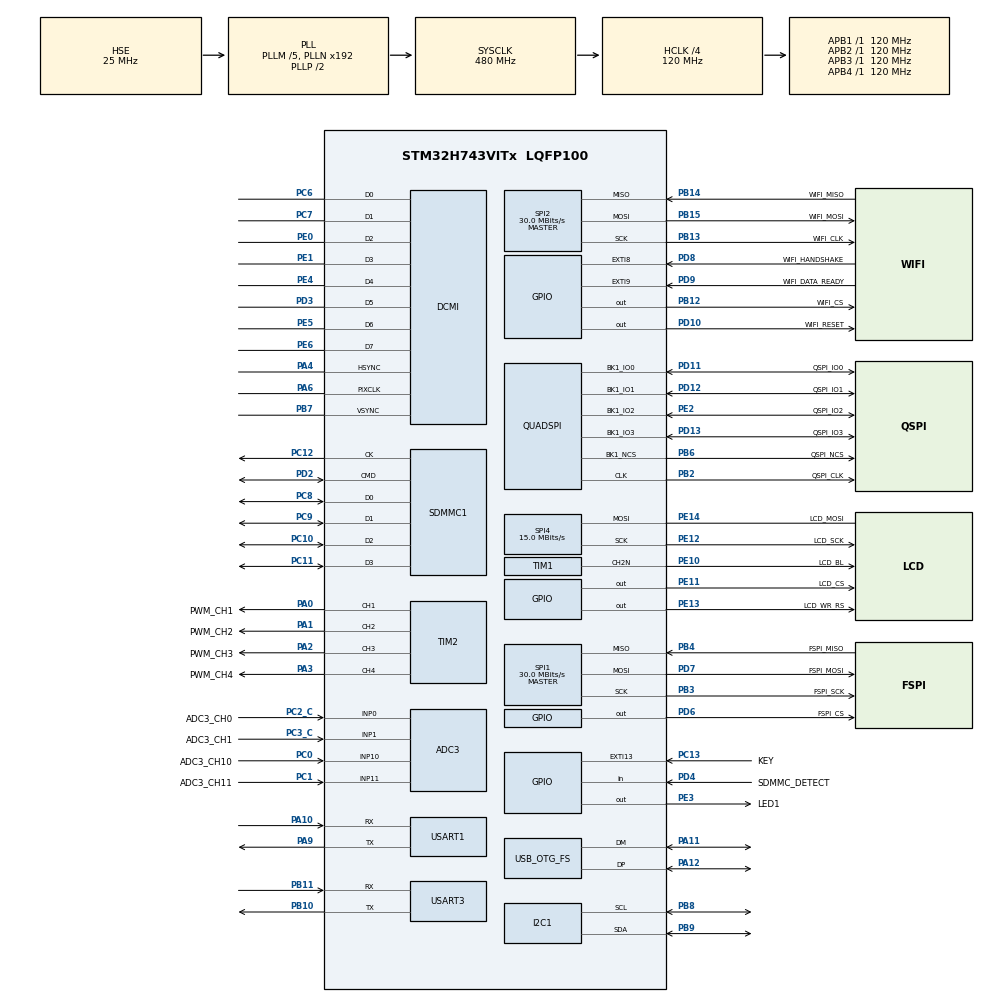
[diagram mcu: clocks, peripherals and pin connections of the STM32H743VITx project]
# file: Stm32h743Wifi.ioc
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ADC3.Channel-0\#ChannelRegularConversion=ADC_CHANNEL_0
ADC3.Channel-1\#ChannelRegularConversion=ADC_CHANNEL_VREFINT
ADC3.Channel-2\#ChannelRegularConversion=ADC_CHANNEL_TEMPSENSOR
ADC3.Channel-3\#ChannelRegularConversion=ADC_CHANNEL_VBAT
ADC3.DiscontinuousConvMode=ENABLE
ADC3.NbrOfConversion=4
ADC3.NbrOfConversionFlag=1
ADC3.OffsetNumber-0\#ChannelRegularConversion=ADC_OFFSET_NONE
ADC3.OffsetNumber-1\#ChannelRegularConversion=ADC_OFFSET_NONE
ADC3.OffsetNumber-2\#ChannelRegularConversion=ADC_OFFSET_NONE
ADC3.OffsetNumber-3\#ChannelRegularConversion=ADC_OFFSET_NONE
ADC3.OffsetSignedSaturation-0\#ChannelRegularConversion=DISABLE
ADC3.OffsetSignedSaturation-1\#ChannelRegularConversion=DISABLE
ADC3.OffsetSignedSaturation-2\#ChannelRegularConversion=DISABLE
ADC3.OffsetSignedSaturation-3\#ChannelRegularConversion=DISABLE
ADC3.Rank-0\#ChannelRegularConversion=1
ADC3.Rank-1\#ChannelRegularConversion=2
ADC3.Rank-2\#ChannelRegularConversion=3
ADC3.Rank-3\#ChannelRegularConversion=4
ADC3.SamplingTime-0\#ChannelRegularConversion=ADC_SAMPLETIME_387CYCLES_5
ADC3.SamplingTime-1\#ChannelRegularConversion=ADC_SAMPLETIME_387CYCLES_5
ADC3.SamplingTime-2\#ChannelRegularConversion=ADC_SAMPLETIME_387CYCLES_5
ADC3.SamplingTime-3\#ChannelRegularConversion=ADC_SAMPLETIME_387CYCLES_5
CORTEX_M7.CPU_DCache=Enabled
CORTEX_M7.CPU_ICache=Enabled
DCMI.PCKPolarity=DCMI_PCKPOLARITY_RISING
Dma.DCMI.0.Direction=DMA_PERIPH_TO_MEMORY
Dma.DCMI.0.EventEnable=DISABLE
Dma.DCMI.0.FIFOMode=DMA_FIFOMODE_DISABLE
Dma.DCMI.0.Instance=DMA1_Stream0
Dma.DCMI.0.MemDataAlignment=DMA_MDATAALIGN_WORD
Dma.DCMI.0.MemInc=DMA_MINC_ENABLE
Dma.DCMI.0.Mode=DMA_NORMAL
Dma.DCMI.0.PeriphDataAlignment=DMA_PDATAALIGN_WORD
Dma.DCMI.0.PeriphInc=DMA_PINC_DISABLE
Dma.DCMI.0.Polarity=HAL_DMAMUX_REQ_GEN_RISING
Dma.DCMI.0.Priority=DMA_PRIORITY_LOW
Dma.DCMI.0.RequestNumber=1
Dma.DCMI.0.SignalID=NONE
Dma.DCMI.0.SyncEnable=DISABLE
Dma.DCMI.0.SyncPolarity=HAL_DMAMUX_SYNC_NO_EVENT
Dma.DCMI.0.SyncRequestNumber=1
Dma.DCMI.0.SyncSignalID=NONE
Dma.Request0=DCMI
Dma.Request1=SPI1_RX
Dma.Request2=SPI1_TX
Dma.SPI1_RX.1.Direction=DMA_PERIPH_TO_MEMORY
Dma.SPI1_RX.1.EventEnable=DISABLE
Dma.SPI1_RX.1.FIFOMode=DMA_FIFOMODE_DISABLE
Dma.SPI1_RX.1.Instance=DMA1_Stream1
Dma.SPI1_RX.1.MemDataAlignment=DMA_MDATAALIGN_BYTE
Dma.SPI1_RX.1.MemInc=DMA_MINC_ENABLE
Dma.SPI1_RX.1.Mode=DMA_NORMAL
Dma.SPI1_RX.1.PeriphDataAlignment=DMA_PDATAALIGN_BYTE
Dma.SPI1_RX.1.PeriphInc=DMA_PINC_DISABLE
Dma.SPI1_RX.1.Polarity=HAL_DMAMUX_REQ_GEN_RISING
Dma.SPI1_RX.1.Priority=DMA_PRIORITY_LOW
Dma.SPI1_RX.1.RequestNumber=1
Dma.SPI1_RX.1.SignalID=NONE
Dma.SPI1_RX.1.SyncEnable=DISABLE
Dma.SPI1_RX.1.SyncPolarity=HAL_DMAMUX_SYNC_NO_EVENT
Dma.SPI1_RX.1.SyncRequestNumber=1
Dma.SPI1_RX.1.SyncSignalID=NONE
Dma.SPI1_TX.2.Direction=DMA_MEMORY_TO_PERIPH
Dma.SPI1_TX.2.EventEnable=DISABLE
Dma.SPI1_TX.2.FIFOMode=DMA_FIFOMODE_DISABLE
Dma.SPI1_TX.2.Instance=DMA1_Stream2
Dma.SPI1_TX.2.MemDataAlignment=DMA_MDATAALIGN_BYTE
Dma.SPI1_TX.2.MemInc=DMA_MINC_ENABLE
Dma.SPI1_TX.2.Mode=DMA_NORMAL
Dma.SPI1_TX.2.PeriphDataAlignment=DMA_PDATAALIGN_BYTE
Dma.SPI1_TX.2.PeriphInc=DMA_PINC_DISABLE
Dma.SPI1_TX.2.Polarity=HAL_DMAMUX_REQ_GEN_RISING
Dma.SPI1_TX.2.Priority=DMA_PRIORITY_LOW
Dma.SPI1_TX.2.RequestNumber=1
Dma.SPI1_TX.2.SignalID=NONE
Dma.SPI1_TX.2.SyncEnable=DISABLE
Dma.SPI1_TX.2.SyncPolarity=HAL_DMAMUX_SYNC_NO_EVENT
Dma.SPI1_TX.2.SyncRequestNumber=1
Dma.SPI1_TX.2.SyncSignalID=NONE
FATFS.BSP.number=1
FATFS.USE_DMA_CODE_SD=1
FATFS0.BSP.STBoard=false
FATFS0.BSP.api=Unknown
FATFS0.BSP.instance=PD4
FATFS0.BSP.ip=GPIO
FATFS0.BSP.mode=Input
FATFS0.BSP.name=Detect_SDIO
FATFS0.BSP.solution=PD4
FREERTOS.Mutexes01=SDMutex,Dynamic,NULL,Available
FREERTOS.Queues01=displayQueue,10,59,1,Dynamic,NULL,NULL;ledQueue,6,uint16_t,0,Dynamic,NULL,NULL;usbQueue,16,uint16_t,0,Dynamic,NULL,NULL;adcQueue,10,32,1,Dynamic,NULL,NULL
FREERTOS.Tasks01=DEFAULTTASK,0,1024,startDefaultTask,Default,NULL,Dynamic,NULL,NULL;USBTASK,0,16384,startUsbTask,Default,NULL,Dynamic,NULL,NULL;LEDTASK,-2,256,startLedTask,Default,NULL,Dynamic,NULL,NULL;DISPLAYTASK,-2,8192,startDisplayTask,Default,NULL,Dynamic,NULL,NULL;CDCTASK,-3,8192,startCdcTask,Default,NULL,Dynamic,NULL,NULL
FREERTOS.configENABLE_FPU=1
FREERTOS.configTOTAL_HEAP_SIZE=196608
FREERTOS.configUSE_NEWLIB_REENTRANT=1
I2C1.I2C_Fall_Time=10
I2C1.I2C_Rise_Time=100
I2C1.Timing=0x40805E8A
Mcu.Family=STM32H7
Mcu.Name=STM32H743VITx
Mcu.Package=LQFP100
NVIC.DCMI_IRQn=true\:5\:0\:false\:false\:true\:true\:true\:true\:true
NVIC.DMA1_Stream0_IRQn=true\:5\:0\:false\:false\:true\:true\:false\:true\:true
NVIC.DMA1_Stream1_IRQn=true\:5\:0\:false\:false\:true\:true\:false\:true\:true
NVIC.DMA1_Stream2_IRQn=true\:5\:0\:false\:false\:true\:true\:false\:true\:true
NVIC.OTG_FS_IRQn=true\:6\:0\:true\:false\:true\:true\:true\:true\:true
NVIC.PriorityGroup=NVIC_PRIORITYGROUP_4
NVIC.SDMMC1_IRQn=true\:5\:0\:false\:false\:true\:true\:true\:true\:true
NVIC.SPI1_IRQn=true\:5\:0\:false\:false\:true\:true\:false\:true\:true
NVIC.TIM16_IRQn=true\:5\:0\:false\:false\:true\:true\:true\:true\:true
NVIC.TIM6_DAC_IRQn=true\:15\:0\:false\:false\:true\:false\:false\:true\:true
NVIC.TimeBase=TIM6_DAC_IRQn
NVIC.TimeBaseIP=TIM6
PA0.GPIO_Label=PWM_CH1
PA0.Signal=S_TIM2_CH1_ETR
PA1.GPIO_Label=PWM_CH2
PA1.Signal=S_TIM2_CH2
PA10.Mode=Asynchronous
PA10.Signal=USART1_RX
PA11.Mode=Device_Only
PA11.Signal=USB_OTG_FS_DM
PA12.Mode=Device_Only
PA12.Signal=USB_OTG_FS_DP
PA13\ (JTMS/SWDIO).Mode=Serial_Wire
PA13\ (JTMS/SWDIO).Signal=DEBUG_JTMS-SWDIO
PA14\ (JTCK/SWCLK).Mode=Serial_Wire
PA14\ (JTCK/SWCLK).Signal=DEBUG_JTCK-SWCLK
PA2.GPIO_Label=PWM_CH3
PA2.Signal=S_TIM2_CH3
PA3.GPIO_Label=PWM_CH4
PA3.Signal=S_TIM2_CH4
PA4.Mode=Slave_8_bits_External_Synchro
PA4.Signal=DCMI_HSYNC
PA6.Mode=Slave_8_bits_External_Synchro
PA6.Signal=DCMI_PIXCLK
PA9.Mode=Asynchronous
PA9.Signal=USART1_TX
PB10.Mode=Asynchronous
PB10.Signal=USART3_TX
PB11.Mode=Asynchronous
PB11.Signal=USART3_RX
PB12.GPIO_Label=WIFI_CS
PB12.Signal=GPIO_Output
PB13.GPIO_Label=WIFI_CLK
PB13.Mode=Full_Duplex_Master
PB13.Signal=SPI2_SCK
PB14.GPIO_Label=WIFI_MISO
PB14.Mode=Full_Duplex_Master
PB14.Signal=SPI2_MISO
PB15.GPIO_Label=WIFI_MOSI
PB15.Mode=Full_Duplex_Master
PB15.Signal=SPI2_MOSI
PB2.GPIO_Label=QSPI_CLK
PB2.GPIO_Speed=GPIO_SPEED_FREQ_VERY_HIGH
PB2.Mode=Single Bank 1
PB2.Signal=QUADSPI_CLK
PB3\ (JTDO/TRACESWO).GPIO_Label=FSPI_SCK
PB3\ (JTDO/TRACESWO).GPIO_Speed=GPIO_SPEED_FREQ_MEDIUM
PB3\ (JTDO/TRACESWO).Mode=Full_Duplex_Master
PB3\ (JTDO/TRACESWO).Signal=SPI1_SCK
PB4\ (NJTRST).GPIO_Label=FSPI_MISO
PB4\ (NJTRST).GPIO_Speed=GPIO_SPEED_FREQ_MEDIUM
PB4\ (NJTRST).Mode=Full_Duplex_Master
PB4\ (NJTRST).Signal=SPI1_MISO
PB6.GPIO_FM6=SYSCFG_PMCR_I2C_PB6_FMP
PB6.GPIO_Label=QSPI_NCS
PB6.GPIO_Speed=GPIO_SPEED_FREQ_VERY_HIGH
PB6.Mode=Single Bank 1
PB6.Signal=QUADSPI_BK1_NCS
PB7.Mode=Slave_8_bits_External_Synchro
PB7.Signal=DCMI_VSYNC
PB8.Mode=I2C
PB8.Signal=I2C1_SCL
PB9.Mode=I2C
PB9.Signal=I2C1_SDA
PC0.GPIO_Label=ADC3_CH10
PC0.Signal=ADCx_INP10
PC1.GPIO_Label=ADC3_CH11
PC1.Signal=ADCx_INP11
PC10.Mode=SD_4_bits_Wide_bus
PC10.Signal=SDMMC1_D2
PC11.Mode=SD_4_bits_Wide_bus
PC11.Signal=SDMMC1_D3
PC12.Mode=SD_4_bits_Wide_bus
PC12.Signal=SDMMC1_CK
PC13.GPIO_Label=KEY
PC13.GPIO_PuPd=GPIO_PULLDOWN
PC13.Signal=GPXTI13
PC14-OSC32_IN\ (OSC32_IN).Mode=LSE-External-Oscillator
PC14-OSC32_IN\ (OSC32_IN).Signal=RCC_OSC32_IN
PC15-OSC32_OUT\ (OSC32_OUT).Mode=LSE-External-Oscillator
PC15-OSC32_OUT\ (OSC32_OUT).Signal=RCC_OSC32_OUT
PC2_C.GPIO_Label=ADC3_CH0
PC2_C.Mode=IN0-Single-Ended
PC2_C.Signal=ADC3_INP0
PC3_C.GPIO_Label=ADC3_CH1
PC3_C.Mode=IN1-Single-Ended
PC3_C.Signal=ADC3_INP1
PC6.Mode=Slave_8_bits_External_Synchro
PC6.Signal=DCMI_D0
PC7.Mode=Slave_8_bits_External_Synchro
PC7.Signal=DCMI_D1
PC8.Mode=SD_4_bits_Wide_bus
PC8.Signal=SDMMC1_D0
PC9.Mode=SD_4_bits_Wide_bus
PC9.Signal=SDMMC1_D1
PD10.GPIO_Label=WIFI_RESET
PD10.Signal=GPIO_Output
PD11.GPIO_Label=QSPI_IO0
PD11.GPIO_Speed=GPIO_SPEED_FREQ_VERY_HIGH
PD11.Mode=Single Bank 1
PD11.Signal=QUADSPI_BK1_IO0
PD12.GPIO_Label=QSPI_IO1
PD12.GPIO_Speed=GPIO_SPEED_FREQ_VERY_HIGH
PD12.Mode=Single Bank 1
PD12.Signal=QUADSPI_BK1_IO1
PD13.GPIO_Label=QSPI_IO3
PD13.GPIO_Speed=GPIO_SPEED_FREQ_VERY_HIGH
PD13.Mode=Single Bank 1
PD13.Signal=QUADSPI_BK1_IO3
PD2.Mode=SD_4_bits_Wide_bus
PD2.Signal=SDMMC1_CMD
PD3.Mode=Slave_8_bits_External_Synchro
PD3.Signal=DCMI_D5
PD4.GPIO_Label=SDMMC_DETECT
PD4.Signal=GPIO_Input
PD6.GPIO_Label=FSPI_CS
PD6.GPIO_Speed=GPIO_SPEED_FREQ_VERY_HIGH
PD6.PinState=GPIO_PIN_SET
PD6.Signal=GPIO_Output
PD7.GPIO_Label=FSPI_MOSI
PD7.GPIO_Speed=GPIO_SPEED_FREQ_MEDIUM
PD7.Mode=Full_Duplex_Master
PD7.Signal=SPI1_MOSI
PD8.GPIO_Label=WIFI_HANDSHAKE
PD8.Signal=GPXTI8
PD9.GPIO_Label=WIFI_DATA_READY
PD9.Signal=GPXTI9
PE0.Mode=Slave_8_bits_External_Synchro
PE0.Signal=DCMI_D2
PE1.Mode=Slave_8_bits_External_Synchro
PE1.Signal=DCMI_D3
PE10.GPIO_Label=LCD_BL
PE10.Mode=PWM Generation2 CH2N
PE10.Signal=TIM1_CH2N
PE11.GPIO_Label=LCD_CS
PE11.GPIO_Speed=GPIO_SPEED_FREQ_VERY_HIGH
PE11.PinState=GPIO_PIN_SET
PE11.Signal=GPIO_Output
PE12.GPIO_Label=LCD_SCK
PE12.GPIO_Speed=GPIO_SPEED_FREQ_MEDIUM
PE12.Mode=Simplex_Bidirectional_Master
PE12.Signal=SPI4_SCK
PE13.GPIO_Label=LCD_WR_RS
PE13.GPIO_Speed=GPIO_SPEED_FREQ_VERY_HIGH
PE13.PinState=GPIO_PIN_SET
PE13.Signal=GPIO_Output
PE14.GPIO_Label=LCD_MOSI
PE14.GPIO_Speed=GPIO_SPEED_FREQ_MEDIUM
PE14.Mode=Simplex_Bidirectional_Master
PE14.Signal=SPI4_MOSI
PE2.GPIO_Label=QSPI_IO2
PE2.GPIO_Speed=GPIO_SPEED_FREQ_VERY_HIGH
PE2.Mode=Single Bank 1
PE2.Signal=QUADSPI_BK1_IO2
PE3.GPIO_Label=LED1
PE3.PinState=GPIO_PIN_RESET
PE3.Signal=GPIO_Output
PE4.Mode=Slave_8_bits_External_Synchro
PE4.Signal=DCMI_D4
PE5.Mode=Slave_8_bits_External_Synchro
PE5.Signal=DCMI_D6
PE6.Mode=Slave_8_bits_External_Synchro
PE6.Signal=DCMI_D7
PH0-OSC_IN\ (PH0).Mode=HSE-External-Oscillator
PH0-OSC_IN\ (PH0).Signal=RCC_OSC_IN
PH1-OSC_OUT\ (PH1).Mode=HSE-External-Oscillator
PH1-OSC_OUT\ (PH1).Signal=RCC_OSC_OUT
ProjectManager.HeapSize=0x2000
ProjectManager.StackSize=0x1000
ProjectManager.TargetToolchain=STM32CubeIDE
QUADSPI.ChipSelectHighTime=QSPI_CS_HIGH_TIME_3_CYCLE
QUADSPI.ClockMode=QSPI_CLOCK_MODE_3
QUADSPI.ClockPrescaler=2-1
QUADSPI.FlashSize=23-1
QUADSPI.SampleShifting=QSPI_SAMPLE_SHIFTING_HALFCYCLE
RCC.ADCFreq_Value=75000000
RCC.APB1Freq_Value=120000000
RCC.APB2Freq_Value=120000000
RCC.APB3Freq_Value=120000000
RCC.APB4Freq_Value=120000000
RCC.CortexFreq_Value=480000000
RCC.DIVM1=5
RCC.DIVM2=2
RCC.DIVM3=10
RCC.DIVN1=192
RCC.DIVN2=12
RCC.DIVN3=96
RCC.DIVQ1=8
RCC.DIVQ3=5
RCC.DIVR2=1
RCC.DIVR3=3
RCC.HCLKFreq_Value=120000000
RCC.HPRE=RCC_HCLK_DIV4
RCC.PLL2FRACN=0
RCC.PLL3FRACN=0
RCC.PLLFRACN=0
RCC.PLLSourceVirtual=RCC_PLLSOURCE_HSE
RCC.SDMMC1CLockSelection=RCC_SDMMCCLKSOURCE_PLL2
RCC.SYSCLKFreq_VALUE=480000000
RCC.SYSCLKSource=RCC_SYSCLKSOURCE_PLLCLK
RCC.SupplySource=PWR_LDO_SUPPLY
RCC.USBCLockSelection=RCC_USBCLKSOURCE_PLL3
RCC.USBFreq_Value=48000000
SDMMC1.ClockDiv=5
SH.ADCx_INP10.0=ADC3_INP10,IN10-Single-Ended
SH.ADCx_INP11.0=ADC3_INP11,IN11-Single-Ended
SH.S_TIM2_CH1_ETR.0=TIM2_CH1,PWM Generation1 CH1
SH.S_TIM2_CH2.0=TIM2_CH2,PWM Generation2 CH2
SH.S_TIM2_CH3.0=TIM2_CH3,PWM Generation3 CH3
SH.S_TIM2_CH4.0=TIM2_CH4,PWM Generation4 CH4
SPI1.BaudRatePrescaler=SPI_BAUDRATEPRESCALER_4
SPI1.CLKPolarity=SPI_POLARITY_HIGH
SPI1.CalculateBaudRate=30.0 MBits/s
SPI1.DataSize=SPI_DATASIZE_8BIT
SPI1.Direction=SPI_DIRECTION_2LINES
SPI1.Mode=SPI_MODE_MASTER
SPI1.VirtualType=VM_MASTER
SPI2.BaudRatePrescaler=SPI_BAUDRATEPRESCALER_4
SPI2.CLKPhase=SPI_PHASE_1EDGE
SPI2.CLKPolarity=SPI_POLARITY_HIGH
SPI2.CalculateBaudRate=30.0 MBits/s
SPI2.DataSize=SPI_DATASIZE_8BIT
SPI2.Direction=SPI_DIRECTION_2LINES
SPI2.Mode=SPI_MODE_MASTER
SPI2.VirtualType=VM_MASTER
SPI4.BaudRatePrescaler=SPI_BAUDRATEPRESCALER_8
SPI4.CLKPolarity=SPI_POLARITY_LOW
SPI4.CalculateBaudRate=15.0 MBits/s
SPI4.DataSize=SPI_DATASIZE_8BIT
SPI4.Direction=SPI_DIRECTION_1LINE
SPI4.Mode=SPI_MODE_MASTER
SPI4.VirtualType=VM_MASTER
TIM1.Channel-PWM\ Generation2\ CH2N=TIM_CHANNEL_2
TIM1.OCNPolarity_2=TIM_OCNPOLARITY_LOW
TIM1.Period=100-1
TIM1.Prescaler=120-1
TIM16.Period=100-1
TIM16.Prescaler=120-1
TIM2.Channel-PWM\ Generation1\ CH1=TIM_CHANNEL_1
TIM2.Channel-PWM\ Generation2\ CH2=TIM_CHANNEL_2
TIM2.Channel-PWM\ Generation3\ CH3=TIM_CHANNEL_3
TIM2.Channel-PWM\ Generation4\ CH4=TIM_CHANNEL_4
USART1.VirtualMode-Asynchronous=VM_ASYNC
USART3.VirtualMode-Asynchronous=VM_ASYNC
USB_OTG_FS.VirtualMode=Device_Only
USB_OTG_FS.dma_enable=ENABLE
VP_ADC3_TempSens_Input.Mode=IN-TempSens
VP_ADC3_Vbat_Input.Mode=IN-Vbat
VP_ADC3_Vref_Input.Mode=IN-Vrefint
VP_FATFS_VS_SDIO.Mode=SDIO
VP_FREERTOS_VS_CMSIS_V1.Mode=CMSIS_V1
VP_MEMORYMAP_VS_MEMORYMAP.Mode=CurAppReg
VP_RTC_VS_RTC_Activate.Mode=RTC_Enabled
VP_SYS_VS_tim6.Mode=TIM6
VP_TIM16_VS_ClockSourceINT.Mode=Enable_Timer
VP_VREFBUF_V_VREFBUF.Mode=ExternalMode
board=custom

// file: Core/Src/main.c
/* USER CODE BEGIN Header */
/**
 ******************************************************************************
 * @file           : main.c
 * @brief          : Main program body
 ******************************************************************************
 * @attention
 *
 * Copyright (c) 2025 STMicroelectronics.
 * All rights reserved.
 *
 * This software is licensed under terms that can be found in the LICENSE file
 * in the root directory of this software component.
 * If no LICENSE file comes with this software, it is provided AS-IS.
 *
 ******************************************************************************
 */
/* USER CODE END Header */
#include "main.h"
#include "cmsis_os.h"
#include "adc.h"
#include "dcmi.h"
#include "dma.h"
#include "fatfs.h"
#include "i2c.h"
#include "memorymap.h"
#include "quadspi.h"
#include "rtc.h"
#include "sdmmc.h"
#include "spi.h"
#include "tim.h"
#include "usart.h"
#include "usb_otg.h"
#include "gpio.h"

/* USER CODE BEGIN Includes */
#include "string.h"
#include "stdio.h"
#include "bspcamera.h"
/* USER CODE END Includes */

void SystemClock_Config(void);
void PeriphCommonClock_Config(void);
void MX_FREERTOS_Init(void);
/* USER CODE BEGIN PFP */

//fails if not present
static void MPU_Config(void) {
	MPU_Region_InitTypeDef MPU_InitStruct = { 0 };

	/* Disables the MPU */
	HAL_MPU_Disable();

	/* Configure the MPU attributes for the QSPI 256MB without instruction access */
	MPU_InitStruct.Enable = MPU_REGION_ENABLE;
	MPU_InitStruct.Number = MPU_REGION_NUMBER0;
	MPU_InitStruct.BaseAddress = QSPI_BASE;
	MPU_InitStruct.Size = MPU_REGION_SIZE_256MB;
	MPU_InitStruct.AccessPermission = MPU_REGION_NO_ACCESS;
	MPU_InitStruct.IsBufferable = MPU_ACCESS_NOT_BUFFERABLE;
	MPU_InitStruct.IsCacheable = MPU_ACCESS_NOT_CACHEABLE;
	MPU_InitStruct.IsShareable = MPU_ACCESS_NOT_SHAREABLE;
	MPU_InitStruct.DisableExec = MPU_INSTRUCTION_ACCESS_DISABLE;
	MPU_InitStruct.TypeExtField = MPU_TEX_LEVEL1;
	MPU_InitStruct.SubRegionDisable = 0x00;
	HAL_MPU_ConfigRegion(&MPU_InitStruct);

	/* Configure the MPU attributes for the QSPI 8MB (QSPI Flash Size) to Cacheable WT */
	MPU_InitStruct.Enable = MPU_REGION_ENABLE;
	MPU_InitStruct.Number = MPU_REGION_NUMBER1;
	MPU_InitStruct.BaseAddress = QSPI_BASE;
	MPU_InitStruct.Size = MPU_REGION_SIZE_8MB;
	MPU_InitStruct.AccessPermission = MPU_REGION_PRIV_RO;
	MPU_InitStruct.IsBufferable = MPU_ACCESS_BUFFERABLE;
	MPU_InitStruct.IsCacheable = MPU_ACCESS_CACHEABLE;
	MPU_InitStruct.IsShareable = MPU_ACCESS_NOT_SHAREABLE;
	MPU_InitStruct.DisableExec = MPU_INSTRUCTION_ACCESS_ENABLE;
	MPU_InitStruct.TypeExtField = MPU_TEX_LEVEL1;
	MPU_InitStruct.SubRegionDisable = 0x00;
	HAL_MPU_ConfigRegion(&MPU_InitStruct);

	/* Setup AXI SRAM in Cacheable WB */
	MPU_InitStruct.Enable = MPU_REGION_ENABLE;
	MPU_InitStruct.BaseAddress = D1_AXISRAM_BASE;
	MPU_InitStruct.Size = MPU_REGION_SIZE_512KB;
	MPU_InitStruct.AccessPermission = MPU_REGION_FULL_ACCESS;
	MPU_InitStruct.IsBufferable = MPU_ACCESS_BUFFERABLE;
	MPU_InitStruct.IsCacheable = MPU_ACCESS_CACHEABLE;
	MPU_InitStruct.IsShareable = MPU_ACCESS_SHAREABLE;
	MPU_InitStruct.Number = MPU_REGION_NUMBER2;
	MPU_InitStruct.TypeExtField = MPU_TEX_LEVEL1;
	MPU_InitStruct.SubRegionDisable = 0x00;
	MPU_InitStruct.DisableExec = MPU_INSTRUCTION_ACCESS_ENABLE;
	HAL_MPU_ConfigRegion(&MPU_InitStruct);

	/* Enables the MPU */
	HAL_MPU_Enable(MPU_PRIVILEGED_DEFAULT);
}
/* USER CODE END PFP */

int main(void) {

	/* USER CODE BEGIN 1 */
	MPU_Config();
	/* USER CODE END 1 */

	/* Enable the CPU Cache */

	/* Enable I-Cache---------------------------------------------------------*/
	SCB_EnableICache();

	/* Enable D-Cache---------------------------------------------------------*/
	SCB_EnableDCache();

	/* MCU Configuration--------------------------------------------------------*/

	/* Reset of all peripherals, Initializes the Flash interface and the Systick. */
	HAL_Init();

	/* Configure the system clock */
	SystemClock_Config();

	/* Configure the peripherals common clocks */
	PeriphCommonClock_Config();

	/* Initialize all configured peripherals */
	MX_GPIO_Init();
	MX_DMA_Init();
	MX_QUADSPI_Init();
	MX_RTC_Init();
	MX_SPI1_Init();
	MX_SPI4_Init();
	MX_TIM1_Init();
	MX_SDMMC1_SD_Init();
	MX_FATFS_Init();
	MX_DCMI_Init();
	MX_ADC3_Init();
	MX_SPI2_Init();
	MX_TIM16_Init();
	MX_USART1_UART_Init();
	MX_I2C1_Init();
	MX_USART3_UART_Init();
	MX_USB_OTG_FS_PCD_Init();
	MX_TIM2_Init();

	/* Call init function for freertos objects (in cmsis_os2.c) */
	MX_FREERTOS_Init();
	/* Start scheduler */
	osKernelStart();
	/* We should never get here as control is now taken by the scheduler */

	/* Infinite loop */
	while (1) {

	}
}

void SystemClock_Config(void) {
	RCC_OscInitTypeDef RCC_OscInitStruct = { 0 };
	RCC_ClkInitTypeDef RCC_ClkInitStruct = { 0 };

	/** Supply configuration update enable
	 */
	HAL_PWREx_ConfigSupply(PWR_LDO_SUPPLY);

	/** Configure the main internal regulator output voltage
	 */
	__HAL_PWR_VOLTAGESCALING_CONFIG(PWR_REGULATOR_VOLTAGE_SCALE0);

	while (!__HAL_PWR_GET_FLAG(PWR_FLAG_VOSRDY)) {
	}

	/** Initializes the RCC Oscillators according to the specified parameters
	 * in the RCC_OscInitTypeDef structure.
	 */
	RCC_OscInitStruct.OscillatorType = RCC_OSCILLATORTYPE_LSI
			| RCC_OSCILLATORTYPE_HSE;
	RCC_OscInitStruct.HSEState = RCC_HSE_ON;
	RCC_OscInitStruct.LSIState = RCC_LSI_ON;
	RCC_OscInitStruct.PLL.PLLState = RCC_PLL_ON;
	RCC_OscInitStruct.PLL.PLLSource = RCC_PLLSOURCE_HSE;
	RCC_OscInitStruct.PLL.PLLM = 5;
	RCC_OscInitStruct.PLL.PLLN = 192;
	RCC_OscInitStruct.PLL.PLLP = 2;
	RCC_OscInitStruct.PLL.PLLQ = 8;
	RCC_OscInitStruct.PLL.PLLR = 2;
	RCC_OscInitStruct.PLL.PLLRGE = RCC_PLL1VCIRANGE_2;
	RCC_OscInitStruct.PLL.PLLVCOSEL = RCC_PLL1VCOWIDE;
	RCC_OscInitStruct.PLL.PLLFRACN = 0;
	if (HAL_RCC_OscConfig(&RCC_OscInitStruct) != HAL_OK) {
		Error_Handler();
	}

	/** Initializes the CPU, AHB and APB buses clocks
	 */
	RCC_ClkInitStruct.ClockType = RCC_CLOCKTYPE_HCLK | RCC_CLOCKTYPE_SYSCLK
			| RCC_CLOCKTYPE_PCLK1 | RCC_CLOCKTYPE_PCLK2 | RCC_CLOCKTYPE_D3PCLK1
			| RCC_CLOCKTYPE_D1PCLK1;
	RCC_ClkInitStruct.SYSCLKSource = RCC_SYSCLKSOURCE_PLLCLK;
	RCC_ClkInitStruct.SYSCLKDivider = RCC_SYSCLK_DIV1;
	RCC_ClkInitStruct.AHBCLKDivider = RCC_HCLK_DIV4;
	RCC_ClkInitStruct.APB3CLKDivider = RCC_APB3_DIV1;
	RCC_ClkInitStruct.APB1CLKDivider = RCC_APB1_DIV1;
	RCC_ClkInitStruct.APB2CLKDivider = RCC_APB2_DIV1;
	RCC_ClkInitStruct.APB4CLKDivider = RCC_APB4_DIV1;

	if (HAL_RCC_ClockConfig(&RCC_ClkInitStruct, FLASH_LATENCY_1) != HAL_OK) {
		Error_Handler();
	}
}

void PeriphCommonClock_Config(void) {
	RCC_PeriphCLKInitTypeDef PeriphClkInitStruct = { 0 };

	/** Initializes the peripherals clock
	 */
	PeriphClkInitStruct.PeriphClockSelection = RCC_PERIPHCLK_ADC
			| RCC_PERIPHCLK_SDMMC;
	PeriphClkInitStruct.PLL2.PLL2M = 2;
	PeriphClkInitStruct.PLL2.PLL2N = 12;
	PeriphClkInitStruct.PLL2.PLL2P = 2;
	PeriphClkInitStruct.PLL2.PLL2Q = 2;
	PeriphClkInitStruct.PLL2.PLL2R = 1;
	PeriphClkInitStruct.PLL2.PLL2RGE = RCC_PLL2VCIRANGE_3;
	PeriphClkInitStruct.PLL2.PLL2VCOSEL = RCC_PLL2VCOMEDIUM;
	PeriphClkInitStruct.PLL2.PLL2FRACN = 0;
	PeriphClkInitStruct.SdmmcClockSelection = RCC_SDMMCCLKSOURCE_PLL2;
	PeriphClkInitStruct.AdcClockSelection = RCC_ADCCLKSOURCE_PLL2;
	if (HAL_RCCEx_PeriphCLKConfig(&PeriphClkInitStruct) != HAL_OK) {
		Error_Handler();
	}

	PeriphClkInitStruct.PeriphClockSelection = RCC_PERIPHCLK_USB;
	PeriphClkInitStruct.PLL3.PLL3M = 10;
	PeriphClkInitStruct.PLL3.PLL3N = 96;
	PeriphClkInitStruct.PLL3.PLL3P = 5;
	PeriphClkInitStruct.PLL3.PLL3Q = 5;
	PeriphClkInitStruct.PLL3.PLL3R = 2;
	PeriphClkInitStruct.PLL3.PLL3RGE = RCC_PLL3VCIRANGE_1;
	PeriphClkInitStruct.PLL3.PLL3VCOSEL = RCC_PLL3VCOWIDE;
	PeriphClkInitStruct.PLL3.PLL3FRACN = 0;
	// PeriphClkInitStruct.Spi45ClockSelection = RCC_SPI45CLKSOURCE_PLL3;
	PeriphClkInitStruct.UsbClockSelection = RCC_USBCLKSOURCE_PLL3;
	if (HAL_RCCEx_PeriphCLKConfig(&PeriphClkInitStruct) != HAL_OK) {
		Error_Handler();
	}
}

void HAL_TIM_PeriodElapsedCallback(TIM_HandleTypeDef *htim) {
	if (htim->Instance == TIM6) {
		HAL_IncTick();
	}
}

void Error_Handler(void) {
	__disable_irq();
	while (1) {
	}
}

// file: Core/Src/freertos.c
/* USER CODE BEGIN Header */
/**
 ******************************************************************************
 * File Name          : freertos.c
 * Description        : Code for freertos applications
 ******************************************************************************
 * @attention
 *
 * Copyright (c) 2025 STMicroelectronics.
 * All rights reserved.
 *
 * This software is licensed under terms that can be found in the LICENSE file
 * in the root directory of this software component.
 * If no LICENSE file comes with this software, it is provided AS-IS.
 *
 ******************************************************************************
 */
/* USER CODE END Header */

#include <consoletask.h>
#include "FreeRTOS.h"
#include "task.h"
#include "main.h"
#include "cmsis_os.h"

/* USER CODE BEGIN Includes */
#include "tusb.h"
#include "tusb_config.h"
#include "adc.h"
#include "ff.h"
#include "fatfs.h"
#include "wifi.h"
#include "cameratask.h"
/* USER CODE END Includes */

/* USER CODE BEGIN PTD */
enum {
	BLINK_NOT_MOUNTED = 250, BLINK_MOUNTED = 1000, BLINK_SUSPENDED = 2500,
};
/* USER CODE END PTD */

/* USER CODE BEGIN PD */
#define Avg_Slope (2) // mV/¡ãC

#define USBD_STACK_SIZE   16384 // (3*configMINIMAL_STACK_SIZE/2) * (CFG_TUSB_DEBUG ? 2 : 1)
#define CDC_STACK_SIZE      8192
#define BLINKY_STACK_SIZE   configMINIMAL_STACK_SIZE
#define DISPLAY_STACK_SIZE 8192
#define DEFAULT_STACK_SIZE 1024
#define ADC_STACK_SIZE 1024
#define CAMERA_STACK_SIZE 4096
/* USER CODE END PD */

/* USER CODE BEGIN PM */
static uint32_t blink_interval_ms = BLINK_NOT_MOUNTED;
/* USER CODE END PM */

osThreadId DEFAULTTASKHandle;
osThreadId USBTASKHandle;
osThreadId LEDTASKHandle;
osThreadId ADCTASKHandle;
osThreadId DISPLAYTASKHandle;
osThreadId CDCTASKHandle;
osThreadId CAMERATASKHandle;
osMessageQId displayQueueHandle;
osMessageQId ledQueueHandle;
osMessageQId usbQueueHandle;
osMessageQId adcQueueHandle;
osMessageQId cameraQueueHandle = NULL;
osMessageQId SDQueueID = NULL;
osMutexId SDMutexHandle;

void startDefaultTask(void const *argument);
void startUsbTask(void const *argument);
void startLedTask(void const *argument);
void startAdcTask(void const *argument);
void startDisplayTask(void const *argument);
void startCdcTask(void const *argument);
void MX_FREERTOS_Init(void); /* (MISRA C 2004 rule 8.1) */

/* GetIdleTaskMemory prototype (linked to static allocation support) */
void vApplicationGetIdleTaskMemory(StaticTask_t **ppxIdleTaskTCBBuffer,
		StackType_t **ppxIdleTaskStackBuffer, uint32_t *pulIdleTaskStackSize);

/* USER CODE BEGIN GET_IDLE_TASK_MEMORY */
static StaticTask_t xIdleTaskTCBBuffer;
static StackType_t xIdleStack[configMINIMAL_STACK_SIZE];

void vApplicationGetIdleTaskMemory(StaticTask_t **ppxIdleTaskTCBBuffer,
		StackType_t **ppxIdleTaskStackBuffer, uint32_t *pulIdleTaskStackSize) {
	*ppxIdleTaskTCBBuffer = &xIdleTaskTCBBuffer;
	*ppxIdleTaskStackBuffer = &xIdleStack[0];
	*pulIdleTaskStackSize = configMINIMAL_STACK_SIZE;
	/* place for user code */
}
/* USER CODE END GET_IDLE_TASK_MEMORY */

void MX_FREERTOS_Init(void) {
	/* Create the mutex(es) */
	/* definition and creation of SDMutex */
	osMutexDef(SDMutex);
	SDMutexHandle = osMutexCreate(osMutex(SDMutex));

	/* Create the queue(s) */
	/* definition and creation of displayQueue */
	osMessageQDef(displayQueue, 10, disp_data_t);
	displayQueueHandle = osMessageCreate(osMessageQ(displayQueue), NULL);

	/* definition and creation of ledQueue */
	osMessageQDef(ledQueue, 6, uint16_t);
	ledQueueHandle = osMessageCreate(osMessageQ(ledQueue), NULL);

	/* definition and creation of usbQueue */
	osMessageQDef(usbQueue, 16, uint16_t);
	usbQueueHandle = osMessageCreate(osMessageQ(usbQueue), NULL);

	/* definition and creation of adcQueue */
	osMessageQDef(adcQueue, 10, adc_data_t);
	adcQueueHandle = osMessageCreate(osMessageQ(adcQueue), NULL);

	osMessageQDef(cameraQueue, 10, camera_t);
	cameraQueueHandle = osMessageCreate(osMessageQ(cameraQueue), NULL);

	/* USER CODE BEGIN RTOS_QUEUES */
	osMessageQDef(SD_Queue, QUEUE_SIZE, uint16_t);
	SDQueueID = osMessageCreate(osMessageQ(SD_Queue), NULL);
	/* add queues, ... */
	/* USER CODE END RTOS_QUEUES */

	/* Create the thread(s) */
	/* definition and creation of DEFAULTTASK */
	osThreadDef(DEFAULTTASK, startDefaultTask, osPriorityNormal, 0, DEFAULT_STACK_SIZE);
	DEFAULTTASKHandle = osThreadCreate(osThread(DEFAULTTASK), NULL);

	/* definition and creation of USBTASK */
	osThreadDef(USBTASK, startUsbTask, osPriorityNormal, 0, USBD_STACK_SIZE);
	USBTASKHandle = osThreadCreate(osThread(USBTASK), NULL);

	/* definition and creation of LEDTASK */
	osThreadDef(LEDTASK, startLedTask, osPriorityLow, 0, BLINKY_STACK_SIZE);
	LEDTASKHandle = osThreadCreate(osThread(LEDTASK), NULL);

	/* definition and creation of DISPLAYTASK */
	osThreadDef(DISPLAYTASK, startDisplayTask, osPriorityLow, 0, DISPLAY_STACK_SIZE);
	DISPLAYTASKHandle = osThreadCreate(osThread(DISPLAYTASK), NULL);

	/* definition and creation of CDCTASK */
	osThreadDef(CDCTASK, startCdcTask, osPriorityNormal, 0, CDC_STACK_SIZE);
	CDCTASKHandle = osThreadCreate(osThread(CDCTASK), NULL);

	osThreadDef(ADCTASK, startAdcTask, osPriorityNormal, 0, ADC_STACK_SIZE);
	ADCTASKHandle = osThreadCreate(osThread(ADCTASK), NULL);

	osThreadDef(CAMERATASK, startCameraTask, osPriorityNormal, 0, CAMERA_STACK_SIZE);
	CAMERATASKHandle = osThreadCreate(osThread(CAMERATASK), NULL);

	/* USER CODE BEGIN RTOS_THREADS */
	startWifi();
	/* USER CODE END RTOS_THREADS */

}

/* USER CODE BEGIN Header_startDefaultTask */
void testSD(void) {
	char pcWriteBuffer[600];
	DIR Dir;
	FATFS *fs;
	FILINFO Finfo;
	//FRESULT res;
	DWORD dw;
	QWORD acc_size, acc_dirs, acc_files;
	memset(pcWriteBuffer, 0x00, 600);
	FRESULT res = f_opendir(&Dir, "/");
	if (res != FR_OK) {
		//sprintf((char*) &pcWriteBuffer, " Disk Error: %s\n",
		//		getSdStatusStr(res));
		memset(pcWriteBuffer, 0x00, 600);
		return;
	}

	acc_size = acc_dirs = acc_files = 0;
	for (;;) {
		res = f_readdir(&Dir, &Finfo);
		if ((res != FR_OK) || !Finfo.fname[0]) {
			break; // finished so drop out of loop
		}
		if (Finfo.fattrib & AM_DIR) {
			acc_dirs++;
		} else {
			acc_files++;
			acc_size += Finfo.fsize;
		}
		sprintf(pcWriteBuffer, "%c%c%c%c%c %u/%02u/%02u %02u:%02u %9lu  %s\n",
				(Finfo.fattrib & AM_DIR) ? 'D' : '-',
				(Finfo.fattrib & AM_RDO) ? 'R' : '-',
				(Finfo.fattrib & AM_HID) ? 'H' : '-',
				(Finfo.fattrib & AM_SYS) ? 'S' : '-',
				(Finfo.fattrib & AM_ARC) ? 'A' : '-', (Finfo.fdate >> 9) + 1980,
				(Finfo.fdate >> 5) & 15, Finfo.fdate & 31, (Finfo.ftime >> 11),
				(Finfo.ftime >> 5) & 63, (unsigned long int)Finfo.fsize, Finfo.fname);
		//safe_cdc_write_const(pcWriteBuffer,strlen(pcWriteBuffer));
		memset(pcWriteBuffer, 0x00, 600);

	}
	sprintf(pcWriteBuffer, "%4u File(s),%10llu bytes total\n%4u Dir(s)",
			(unsigned int) acc_files, (long long int) acc_size,
			(unsigned int) acc_dirs);
	res = f_getfree("/", &dw, &fs);
	if (res == FR_OK) {
		sprintf(pcWriteBuffer, ", %10llu bytes free\n",
				(long long int) dw * fs->csize * 512);
	} else {
		//	sprintf(pcWriteBuffer, " Disk Error: %s\n",
		//		getSdStatusStr(res));
	}

}
/**
 * @brief  Function implementing the DEFAULTTASK thread.
 * @param  argument: Not used
 * @retval None
 */
/* USER CODE END Header_startDefaultTask */
void startDefaultTask(void const *argument) {
	/* USER CODE BEGIN startDefaultTask */
	/* Infinite loop */
	//FRESULT res = f_mount(&SDFatFS, "", 1);
	//if (res != FR_OK) {
	//}
	//testSD();
	for (;;) {
		osDelay(1);
	}
	/* USER CODE END startDefaultTask */
}

void startUsbTask(void const *argument) {
	/* USER CODE BEGIN startUsbTask */
	tusb_rhport_init_t dev_init = { .role = TUSB_ROLE_DEVICE, .speed =
			TUSB_SPEED_AUTO };
	tusb_init(BOARD_TUD_RHPORT, &dev_init);

	/* Infinite loop */
	for (;;) {
		tud_task();
		// following code only run if tud_task() process at least 1 event
		tud_cdc_write_flush();
	}
	/* USER CODE END startUsbTask */
}

/* USER CODE BEGIN Header_startLedTask */
// Invoked when device is unmounted
void tud_umount_cb(void) {
	blink_interval_ms = BLINK_NOT_MOUNTED;
}

// Invoked when usb bus is suspended
// remote_wakeup_en : if host allow us  to perform remote wakeup
// Within 7ms, device must draw an average of current less than 2.5 mA from bus
void tud_suspend_cb(bool remote_wakeup_en) {
	(void) remote_wakeup_en;
	blink_interval_ms = BLINK_SUSPENDED;
}

// Invoked when usb bus is resumed
void tud_resume_cb(void) {
	blink_interval_ms = tud_mounted() ? BLINK_MOUNTED : BLINK_NOT_MOUNTED;
}
/**
 * @brief Function implementing the LEDTASK thread.
 * @param argument: Not used
 * @retval None
 */
/* USER CODE END Header_startLedTask */
void startLedTask(void const *argument) {
	/* USER CODE BEGIN startLedTask */
	static uint32_t start_ms = 0;
	static uint8_t ledstate = 0;
	/* Infinite loop */
	for (;;) {
		start_ms += blink_interval_ms;
		osDelay(blink_interval_ms);
		if (ledstate == 0) {
			ledstate = 1;
			HAL_GPIO_WritePin(LED1_GPIO_Port, LED1_Pin, GPIO_PIN_SET);
		} else {
			ledstate = 0;
			HAL_GPIO_WritePin(LED1_GPIO_Port, LED1_Pin, GPIO_PIN_RESET);
		}
	}
	/* USER CODE END startLedTask */
}

/* USER CODE BEGIN Header_startDisplayTask */

/* USER CODE BEGIN Application */
void startAdcTask(void const *argument) {
	/* USER CODE BEGIN startDefaultTask */
	__IO uint16_t uhADCxConvertedValue[7];
	__IO uint32_t uhADCxInputVoltage[7];
	adc_data_t adcData;
	uint32_t adc3_inp0, adc3_inp1, adc3_inp2, adc3_inp3, vbat, tempsensor,
			vrefint;
	uint16_t V30 = 620;
	if (HAL_ADCEx_Calibration_Start(&hadc3, ADC_CALIB_OFFSET, ADC_SINGLE_ENDED)
			!= HAL_OK) {
		/* Calibration Error */
		Error_Handler();
	}
	for (;;) {
		for (uint32_t i = 0;
				i < (sizeof(uhADCxConvertedValue) / sizeof(uint16_t)); i++) {
			// Start the conversion process
			if (HAL_ADC_Start(&hadc3) != HAL_OK) {
				/* Start Conversation Error */
				Error_Handler();
			}
			//Wait for the end of conversion
			if (HAL_ADC_PollForConversion(&hadc3, 100) != HAL_OK) {
				// End Of Conversion flag not set on time
				Error_Handler();
			} else {
				// ADC conversion completed
				// Get the converted value of regular channel
				uhADCxConvertedValue[i] = HAL_ADC_GetValue(&hadc3);

				// Convert the result from 16 bit value to the voltage dimension (mV unit)
				// Vref = 3.3 V
				uhADCxInputVoltage[i] = ((uhADCxConvertedValue[i] * 3300)
						/ 0xFFFF);
			}
		}
		HAL_ADC_Stop(&hadc3);
		adc3_inp0 = uhADCxInputVoltage[0]; // mv
		adc3_inp1 = uhADCxInputVoltage[4]; // mv
		adc3_inp2 = uhADCxInputVoltage[5]; // mv
		adc3_inp3 = uhADCxInputVoltage[6]; // mv
		vrefint = uhADCxInputVoltage[1]; // type. 1200mV
		tempsensor = ((int32_t) uhADCxInputVoltage[2] - V30) / Avg_Slope + 30; // ¡ãC
		vbat = uhADCxInputVoltage[3] * 4;
		adcData.AvgSlope = Avg_Slope;
		adcData.V30 = V30;
		adcData.adc3_inp0 = adc3_inp0;
		adcData.adc3_inp1 = adc3_inp1;
		adcData.adc3_inp2 = adc3_inp2;
		adcData.adc3_inp3 = adc3_inp3;
		adcData.tempsensor = tempsensor;
		adcData.vbat = vbat;
		adcData.vrefint = vrefint;
		xQueueSendToBack(adcQueueHandle, &adcData, (TickType_t ) 0);
		osDelay(500);
	}
	/* USER CODE END startDefaultTask */
}

/* USER CODE END Application */
